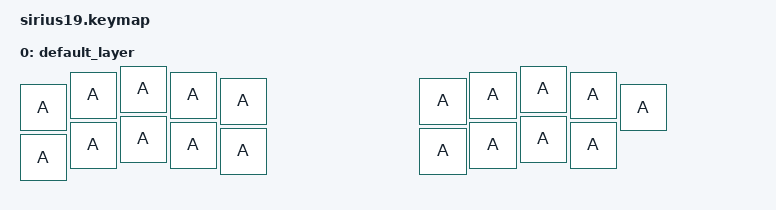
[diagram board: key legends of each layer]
#include <dt-bindings/zmk/bt.h>
#include <dt-bindings/zmk/keys.h>
#include <dt-bindings/zmk/pointing.h>
#include <behaviors.dtsi>

/ {
    zip_temp_layer: zip_temp_layer {
        compatible = "zmk,input-processor-temp-layer";
        #input-processor-cells = <2>;
        require-prior-idle-ms = <300>;
        excluded-positions = <26 27 28 29>;
    };

    trackball_listener {
        input-processors = <&zip_temp_layer 1 2000>;

        scroller {
            layers = <1>;
            input-processors = <
                   &zip_xy_to_scroll_mapper
                   &zip_scroll_transform INPUT_TRANSFORM_Y_INVERT
                   &zip_scroll_scaler 1 12>;
            process-next;
        };
    };


    zip_keybind_keys: zip_keybind_keys {
        compatible = "zmk,input-processor-keybind";
        #input-processor-cells = <0>;
        track_remainders;
        bindings = <&kp D>,
                  <&kp A>,
                  <&kp W>,
                  <&kp S>;
        tick = <40>;
        wait-ms = <0>;
        tap-ms = <10>;
        // mode = <1>
        // threshold = <10>
        // max_threshold = <200>
        // max_pending_activations = <10>
    };


    joystick_listener {
        input-processors = <&zip_keybind_keys>;
    };


        ht: positional_hold_tap {
            compatible = "zmk,behavior-hold-tap";
            #binding-cells = <2>;
            tapping-term-ms = <200>;
            quick-tap-ms = <200>;
            require-prior-idle-ms = <100>;
            flavor = "tap-preferred";
            bindings = <&kp>, <&kp>;
        };
};
 
/ {
     keymap {
        compatible = "zmk,keymap";

        default_layer {
            bindings = <
            &kp A     &kp A     &kp A     &kp A     &kp A     &kp A     &kp A     &kp A     &kp A     &kp A    
             &kp A     &kp A     &kp A     &kp A     &kp A     &kp A     &kp A     &kp A     &kp A    
            >;
        };
    };
};
